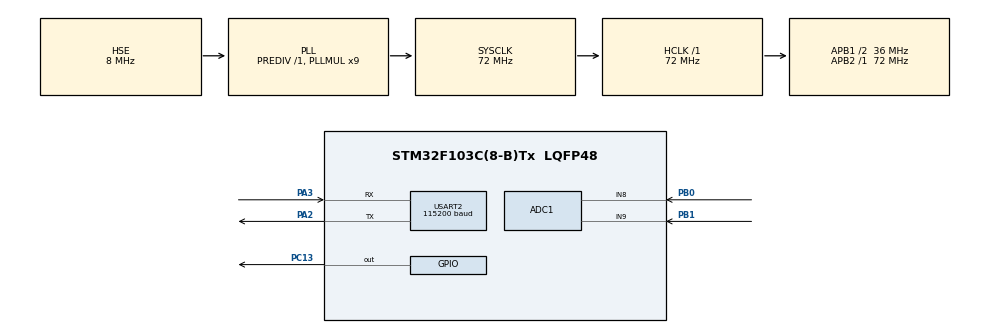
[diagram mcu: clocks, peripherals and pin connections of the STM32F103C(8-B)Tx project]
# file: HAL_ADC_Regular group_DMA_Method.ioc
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ADC1.Channel-19\#ChannelRegularConversion=ADC_CHANNEL_8
ADC1.Channel-20\#ChannelRegularConversion=ADC_CHANNEL_9
ADC1.ContinuousConvMode=ENABLE
ADC1.EnableRegularConversion=ENABLE
ADC1.NbrOfConversion=2
ADC1.NbrOfConversionFlag=1
ADC1.Rank-19\#ChannelRegularConversion=1
ADC1.Rank-20\#ChannelRegularConversion=2
ADC1.SamplingTime-19\#ChannelRegularConversion=ADC_SAMPLETIME_239CYCLES_5
ADC1.SamplingTime-20\#ChannelRegularConversion=ADC_SAMPLETIME_239CYCLES_5
ADC1.master=1
Dma.ADC1.1.Direction=DMA_PERIPH_TO_MEMORY
Dma.ADC1.1.Instance=DMA1_Channel1
Dma.ADC1.1.MemDataAlignment=DMA_MDATAALIGN_WORD
Dma.ADC1.1.MemInc=DMA_MINC_ENABLE
Dma.ADC1.1.Mode=DMA_CIRCULAR
Dma.ADC1.1.PeriphDataAlignment=DMA_PDATAALIGN_WORD
Dma.ADC1.1.PeriphInc=DMA_PINC_DISABLE
Dma.ADC1.1.Priority=DMA_PRIORITY_MEDIUM
Dma.Request0=USART2_TX
Dma.Request1=ADC1
Dma.USART2_TX.0.Direction=DMA_MEMORY_TO_PERIPH
Dma.USART2_TX.0.Instance=DMA1_Channel7
Dma.USART2_TX.0.MemDataAlignment=DMA_MDATAALIGN_BYTE
Dma.USART2_TX.0.MemInc=DMA_MINC_ENABLE
Dma.USART2_TX.0.Mode=DMA_CIRCULAR
Dma.USART2_TX.0.PeriphDataAlignment=DMA_PDATAALIGN_BYTE
Dma.USART2_TX.0.PeriphInc=DMA_PINC_DISABLE
Dma.USART2_TX.0.Priority=DMA_PRIORITY_MEDIUM
Mcu.Family=STM32F1
Mcu.Name=STM32F103C(8-B)Tx
Mcu.Package=LQFP48
NVIC.DMA1_Channel1_IRQn=true\:0\:0\:false\:false\:true\:false\:true
NVIC.DMA1_Channel7_IRQn=true\:0\:0\:false\:false\:true\:false\:true
NVIC.PriorityGroup=NVIC_PRIORITYGROUP_4
NVIC.USART2_IRQn=true\:0\:0\:false\:false\:true\:true\:true
PA13.Mode=Serial_Wire
PA13.Signal=SYS_JTMS-SWDIO
PA14.Mode=Serial_Wire
PA14.Signal=SYS_JTCK-SWCLK
PA2.Mode=Asynchronous
PA2.Signal=USART2_TX
PA3.Mode=Asynchronous
PA3.Signal=USART2_RX
PB0.Signal=ADCx_IN8
PB1.Signal=ADCx_IN9
PC13-TAMPER-RTC.GPIO_Speed=GPIO_SPEED_FREQ_LOW
PC13-TAMPER-RTC.Signal=GPIO_Output
PD0-OSC_IN.Mode=HSE-External-Oscillator
PD0-OSC_IN.Signal=RCC_OSC_IN
PD1-OSC_OUT.Mode=HSE-External-Oscillator
PD1-OSC_OUT.Signal=RCC_OSC_OUT
ProjectManager.HeapSize=0x200
ProjectManager.StackSize=0x400
ProjectManager.TargetToolchain=MDK-ARM V5.27
RCC.ADCPresc=RCC_ADCPCLK2_DIV6
RCC.AHBFreq_Value=72000000
RCC.APB1CLKDivider=RCC_HCLK_DIV2
RCC.APB1Freq_Value=36000000
RCC.APB1TimFreq_Value=72000000
RCC.APB2Freq_Value=72000000
RCC.APB2TimFreq_Value=72000000
RCC.HCLKFreq_Value=72000000
RCC.PLLMUL=RCC_PLL_MUL9
RCC.PLLSourceVirtual=RCC_PLLSOURCE_HSE
RCC.SYSCLKFreq_VALUE=72000000
RCC.SYSCLKSource=RCC_SYSCLKSOURCE_PLLCLK
RCC.USBFreq_Value=72000000
SH.ADCx_IN8.0=ADC1_IN8,IN8
SH.ADCx_IN9.0=ADC1_IN9,IN9
USART2.BaudRate=115200
USART2.Parity=PARITY_NONE
USART2.VirtualMode=VM_ASYNC
USART2.WordLength=WORDLENGTH_8B
board=custom

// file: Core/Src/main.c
/* USER CODE BEGIN Header */
/**
  ******************************************************************************
  * @file           : main.c
  * @brief          : Main program body
  ******************************************************************************
  * @attention
  *
  * <h2><center>&copy; Copyright (c) 2021 STMicroelectronics.
  * All rights reserved.</center></h2>
  *
  * This software component is licensed by ST under BSD 3-Clause license,
  * the "License"; You may not use this file except in compliance with the
  * License. You may obtain a copy of the License at:
  *                        opensource.org/licenses/BSD-3-Clause
  *
  ******************************************************************************
  */
/* USER CODE END Header */
#include "main.h"

/* USER CODE BEGIN Includes */
#include "stdio.h"
/* USER CODE END Includes */

ADC_HandleTypeDef hadc1;
DMA_HandleTypeDef hdma_adc1;

UART_HandleTypeDef huart2;
DMA_HandleTypeDef hdma_usart2_tx;

/* USER CODE BEGIN PV */
uint32_t ADC_data[2];
char str[34] = "";
/* USER CODE END PV */

void SystemClock_Config(void);
static void MX_GPIO_Init(void);
static void MX_DMA_Init(void);
static void MX_USART2_UART_Init(void);
static void MX_ADC1_Init(void);
/* USER CODE BEGIN PFP */
//void HAL_ADC_ConvCpltCallback(ADC_HandleTypeDef* hadc){
//
//	HAL_ADC_Start_DMA(&hadc1, ADC_data, 2);
//}
void HAL_UART_TxCpltCallback(UART_HandleTypeDef *huart){

	ADC_data[0] = (uint32_t) (ADC_data[0] * 3300 / 4095);
	ADC_data[1] = (uint32_t) (ADC_data[1] * 3300 / 4095);
	sprintf(str,"Value PB0: %04u   Value PB1: %04u\n", ADC_data[0], ADC_data[1]);

}
/* USER CODE END PFP */

int main(void)
{

  /* MCU Configuration--------------------------------------------------------*/

  /* Reset of all peripherals, Initializes the Flash interface and the Systick. */
  HAL_Init();

  /* Configure the system clock */
  SystemClock_Config();

  /* Initialize all configured peripherals */
  MX_GPIO_Init();
  MX_DMA_Init();
  MX_USART2_UART_Init();
  MX_ADC1_Init();
  /* USER CODE BEGIN 2 */
	ADC_data[0] = 1345;
	HAL_ADC_Start_DMA(&hadc1, ADC_data, 2);
	ADC_data[0] = (uint32_t) (ADC_data[0] * 3300 / 4095);
	ADC_data[1] = (uint32_t) (ADC_data[1] * 3300 / 4095);
	sprintf(str,"Value PB0: %04u   Value PB1: %04u\n", ADC_data[0], ADC_data[1]);
	HAL_UART_Transmit_DMA(&huart2, (uint8_t*)str, 34);

  /* USER CODE END 2 */

  /* Infinite loop */
  /* USER CODE BEGIN WHILE */
  while (1)
  {

		HAL_GPIO_WritePin(GPIOC, GPIO_PIN_13, GPIO_PIN_SET);
		HAL_Delay(200);
		HAL_GPIO_WritePin(GPIOC, GPIO_PIN_13, GPIO_PIN_RESET);
		HAL_Delay(200);
    /* USER CODE END WHILE */

  }
}

void SystemClock_Config(void)
{
  RCC_OscInitTypeDef RCC_OscInitStruct = {0};
  RCC_ClkInitTypeDef RCC_ClkInitStruct = {0};
  RCC_PeriphCLKInitTypeDef PeriphClkInit = {0};

  /** Initializes the RCC Oscillators according to the specified parameters
  * in the RCC_OscInitTypeDef structure.
  */
  RCC_OscInitStruct.OscillatorType = RCC_OSCILLATORTYPE_HSE;
  RCC_OscInitStruct.HSEState = RCC_HSE_ON;
  RCC_OscInitStruct.HSEPredivValue = RCC_HSE_PREDIV_DIV1;
  RCC_OscInitStruct.HSIState = RCC_HSI_ON;
  RCC_OscInitStruct.PLL.PLLState = RCC_PLL_ON;
  RCC_OscInitStruct.PLL.PLLSource = RCC_PLLSOURCE_HSE;
  RCC_OscInitStruct.PLL.PLLMUL = RCC_PLL_MUL9;
  if (HAL_RCC_OscConfig(&RCC_OscInitStruct) != HAL_OK)
  {
    Error_Handler();
  }
  /** Initializes the CPU, AHB and APB buses clocks
  */
  RCC_ClkInitStruct.ClockType = RCC_CLOCKTYPE_HCLK|RCC_CLOCKTYPE_SYSCLK
                              |RCC_CLOCKTYPE_PCLK1|RCC_CLOCKTYPE_PCLK2;
  RCC_ClkInitStruct.SYSCLKSource = RCC_SYSCLKSOURCE_PLLCLK;
  RCC_ClkInitStruct.AHBCLKDivider = RCC_SYSCLK_DIV1;
  RCC_ClkInitStruct.APB1CLKDivider = RCC_HCLK_DIV2;
  RCC_ClkInitStruct.APB2CLKDivider = RCC_HCLK_DIV1;

  if (HAL_RCC_ClockConfig(&RCC_ClkInitStruct, FLASH_LATENCY_2) != HAL_OK)
  {
    Error_Handler();
  }
  PeriphClkInit.PeriphClockSelection = RCC_PERIPHCLK_ADC;
  PeriphClkInit.AdcClockSelection = RCC_ADCPCLK2_DIV6;
  if (HAL_RCCEx_PeriphCLKConfig(&PeriphClkInit) != HAL_OK)
  {
    Error_Handler();
  }
}

static void MX_ADC1_Init(void)
{

  ADC_ChannelConfTypeDef sConfig = {0};

  /** Common config
  */
  hadc1.Instance = ADC1;
  hadc1.Init.ScanConvMode = ADC_SCAN_ENABLE;
  hadc1.Init.ContinuousConvMode = ENABLE;
  hadc1.Init.DiscontinuousConvMode = DISABLE;
  hadc1.Init.ExternalTrigConv = ADC_SOFTWARE_START;
  hadc1.Init.DataAlign = ADC_DATAALIGN_RIGHT;
  hadc1.Init.NbrOfConversion = 2;
  if (HAL_ADC_Init(&hadc1) != HAL_OK)
  {
    Error_Handler();
  }
  /** Configure Regular Channel
  */
  sConfig.Channel = ADC_CHANNEL_8;
  sConfig.Rank = ADC_REGULAR_RANK_1;
  sConfig.SamplingTime = ADC_SAMPLETIME_71CYCLES_5;
  if (HAL_ADC_ConfigChannel(&hadc1, &sConfig) != HAL_OK)
  {
    Error_Handler();
  }
  /** Configure Regular Channel
  */
  sConfig.Channel = ADC_CHANNEL_9;
  sConfig.Rank = ADC_REGULAR_RANK_2;
  if (HAL_ADC_ConfigChannel(&hadc1, &sConfig) != HAL_OK)
  {
    Error_Handler();
  }

}

static void MX_USART2_UART_Init(void)
{

  huart2.Instance = USART2;
  huart2.Init.BaudRate = 115200;
  huart2.Init.WordLength = UART_WORDLENGTH_8B;
  huart2.Init.StopBits = UART_STOPBITS_1;
  huart2.Init.Parity = UART_PARITY_NONE;
  huart2.Init.Mode = UART_MODE_TX_RX;
  huart2.Init.HwFlowCtl = UART_HWCONTROL_NONE;
  huart2.Init.OverSampling = UART_OVERSAMPLING_16;
  if (HAL_UART_Init(&huart2) != HAL_OK)
  {
    Error_Handler();
  }

}

static void MX_DMA_Init(void)
{

  /* DMA controller clock enable */
  __HAL_RCC_DMA1_CLK_ENABLE();

  /* DMA interrupt init */
  /* DMA1_Channel1_IRQn interrupt configuration */
  HAL_NVIC_SetPriority(DMA1_Channel1_IRQn, 0, 0);
  HAL_NVIC_EnableIRQ(DMA1_Channel1_IRQn);
  /* DMA1_Channel7_IRQn interrupt configuration */
  HAL_NVIC_SetPriority(DMA1_Channel7_IRQn, 0, 0);
  HAL_NVIC_EnableIRQ(DMA1_Channel7_IRQn);

}

static void MX_GPIO_Init(void)
{
  GPIO_InitTypeDef GPIO_InitStruct = {0};

  /* GPIO Ports Clock Enable */
  __HAL_RCC_GPIOC_CLK_ENABLE();
  __HAL_RCC_GPIOD_CLK_ENABLE();
  __HAL_RCC_GPIOA_CLK_ENABLE();
  __HAL_RCC_GPIOB_CLK_ENABLE();

  /*Configure GPIO pin Output Level */
  HAL_GPIO_WritePin(GPIOC, GPIO_PIN_13, GPIO_PIN_RESET);

  /*Configure GPIO pin : PC13 */
  GPIO_InitStruct.Pin = GPIO_PIN_13;
  GPIO_InitStruct.Mode = GPIO_MODE_OUTPUT_PP;
  GPIO_InitStruct.Pull = GPIO_NOPULL;
  GPIO_InitStruct.Speed = GPIO_SPEED_FREQ_LOW;
  HAL_GPIO_Init(GPIOC, &GPIO_InitStruct);

}

void Error_Handler(void)
{
  __disable_irq();
  while (1)
  {
  }
}

/************************ (C) COPYRIGHT STMicroelectronics *****END OF FILE****/
